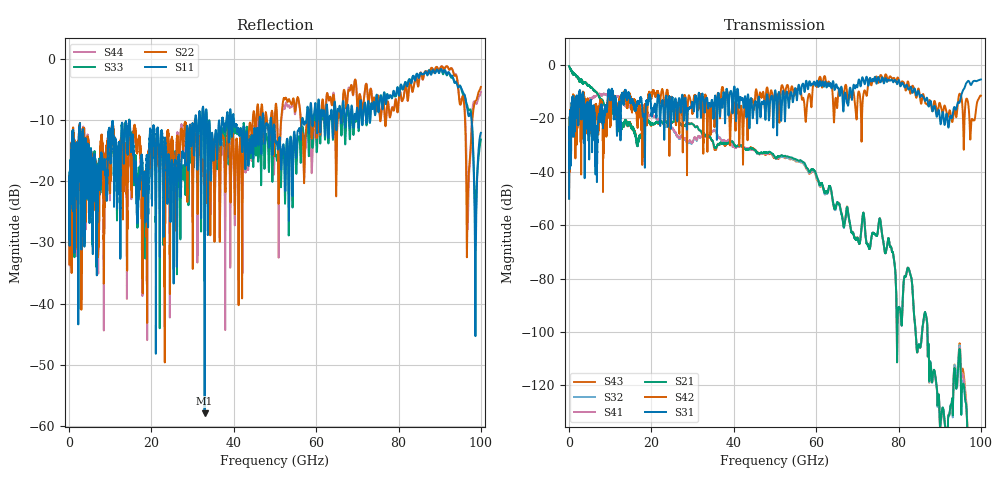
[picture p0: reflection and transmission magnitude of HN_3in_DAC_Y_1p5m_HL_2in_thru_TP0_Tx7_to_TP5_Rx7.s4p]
# GHz S RI R 45
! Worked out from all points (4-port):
!   4000 points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, 25 MHz to 100 GHz, reference 45 ohm
!   strongest paths, dB at 25 MHz, 25.02 GHz, 50.02 GHz, 75.03 GHz, 100 GHz:
!     S31: -50.1, -12.3, -9.7, -4.6, -5.5
!     S42: -50.1, -13.8, -13.1, -6.4, -11.5
!     S21: -0.5, -21.4, -34.6, -61.8, -182.8
!     S41: -45.7, -23.6, -34.7, -61.8, -185.3
!     S32: -45.7, -23.9, -34.6, -61.8, -184.6
!     S43: -0.5, -21.5, -34.8, -61.8, -178.1
!   lowest |S11| = -58.0 dB at 32.92 GHz (marker M1), VSWR 1.00, Z = 44.9 + j0.0464 ohm
!   |S11| at or under -10 dB: start of sweep to 30.6 GHz; 40.05 GHz to 46.25 GHz (6.195 GHz wide, 14.4 % of centre); 49.09 GHz to 56.56 GHz (7.468 GHz wide, 14.1 % of centre)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
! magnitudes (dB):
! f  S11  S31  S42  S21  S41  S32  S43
! 25 MHz  -24.4  -50.1  -50.1  -0.5  -45.7  -45.7  -0.5
! 2.25 GHz  -43.4  -22.7  -19.0  -4.7  -14.9  -14.9  -4.7
! 7.175 GHz  -18.0  -19.3  -21.3  -11.5  -10.9  -10.9  -11.5
! 32.92 GHz  -58.0  -17.9  -12.8  -26.0  -26.8  -26.8  -26.1
! 56.7 GHz  -9.6  -7.1  -12.7  -36.3  -36.3  -36.5  -36.6
! 79.8 GHz  -4.6  -6.7  -4.7  -94.0  -94.0  -93.9  -93.9
! 100 GHz  -12.1  -5.5  -11.5  -182.8  -185.3  -184.6  -178.1
